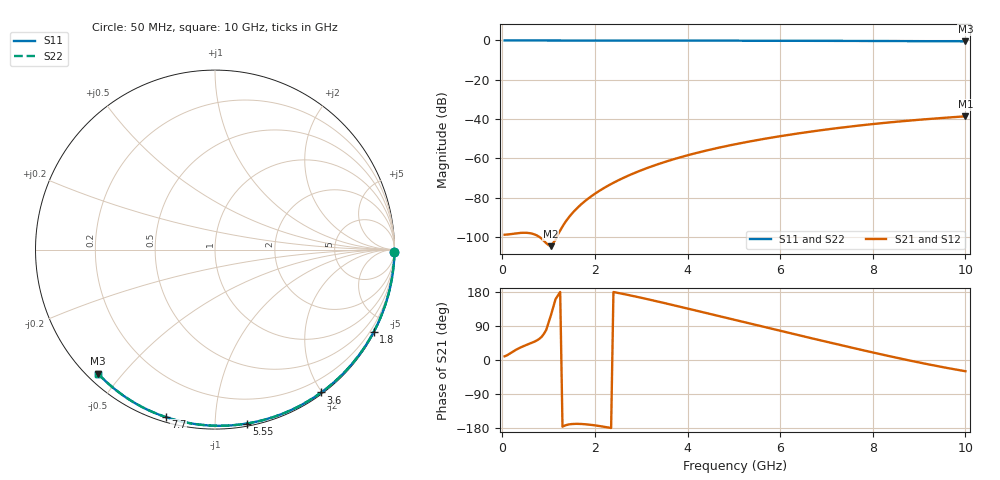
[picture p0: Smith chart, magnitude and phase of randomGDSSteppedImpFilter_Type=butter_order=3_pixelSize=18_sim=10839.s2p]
! freq	dB(S11)	phase(S11)	dB(S12)	phase(S12)
!  dB(S21)	phase(S21)	dB(S22)	phase(S22)
!S-par simulation data
#  GHz  S  DB  R 50
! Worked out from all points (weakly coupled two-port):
!   200 points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, 50 MHz to 10 GHz, reference 50 ohm
!   highest |S21| = -38.63 dB at 10 GHz (marker M1); lowest = -104.8 dB at 1.05 GHz (marker M2)
!   lowest |S11| = -0.4 dB at 10 GHz (marker M3), VSWR 38.83, Z = 1.53 - j21.5 ohm
!   |S11| at or under -10 dB: nowhere
!   |S22| runs from -0.4 to 0.0 dB; largest |S21 - S12| = 0
!   S11 on the Smith chart (normalised r, x): 50 MHz: open; 1.8 GHz: 0.04, -4.12; 3.6 GHz: 0.02, -1.99; 5.55 GHz: 0.02, -1.20; 7.7 GHz: 0.02, -0.75; 10 GHz: 0.03, -0.43
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0.05  -0.00 -0.8  -98.96 9.7  -98.96 9.7  -0.00 -0.8
0.55  -0.01 -8.5  -98.03 41.1  -98.03 41.1  -0.01 -8.4
1.05  -0.02 -16.0  -104.78 118.1  -104.78 118.1  -0.02 -16.0
1.75  -0.03 -26.6  -82.52 -169.2  -82.52 -169.2  -0.03 -26.6
1.8  -0.03 -27.3  -81.54 -169.6  -81.54 -169.6  -0.03 -27.3
1.9  -0.04 -28.8  -79.74 -170.9  -79.74 -170.9  -0.04 -28.8
2.05  -0.04 -31.0  -77.29 -173.4  -77.29 -173.4  -0.04 -31.0
2.25  -0.04 -34.0  -74.41 -177.3  -74.41 -177.3  -0.04 -34.0
2.45  -0.05 -36.9  -71.87 178.2  -71.87 178.2  -0.05 -36.9
2.65  -0.05 -39.8  -69.60 173.4  -69.60 173.4  -0.05 -39.8
3  -0.06 -44.8  -66.12 164.2  -66.12 164.2  -0.06 -44.8
3.4  -0.07 -50.5  -62.72 153.1  -62.72 153.1  -0.07 -50.5
3.6  -0.07 -53.4  -61.21 147.4  -61.21 147.4  -0.07 -53.4
4.3  -0.09 -63.1  -56.68 127.0  -56.68 127.0  -0.09 -63.1
5.05  -0.11 -73.2  -52.77 104.9  -52.77 104.9  -0.11 -73.2
5.55  -0.13 -79.7  -50.56 90.2  -50.56 90.2  -0.13 -79.7
6.1  -0.15 -86.8  -48.39 74.1  -48.39 74.1  -0.15 -86.8
6.7  -0.18 -94.3  -46.30 56.8  -46.30 56.8  -0.18 -94.3
7.7  -0.24 -106.5  -43.35 28.2  -43.35 28.2  -0.24 -106.5
8.35  -0.29 -114.2  -41.76 10.4  -41.76 10.4  -0.29 -114.2
9.15  -0.36 -123.5  -40.11 -10.3  -40.11 -10.3  -0.36 -123.5
10  -0.45 -133.4  -38.63 -29.6  -38.63 -29.6  -0.45 -133.4
